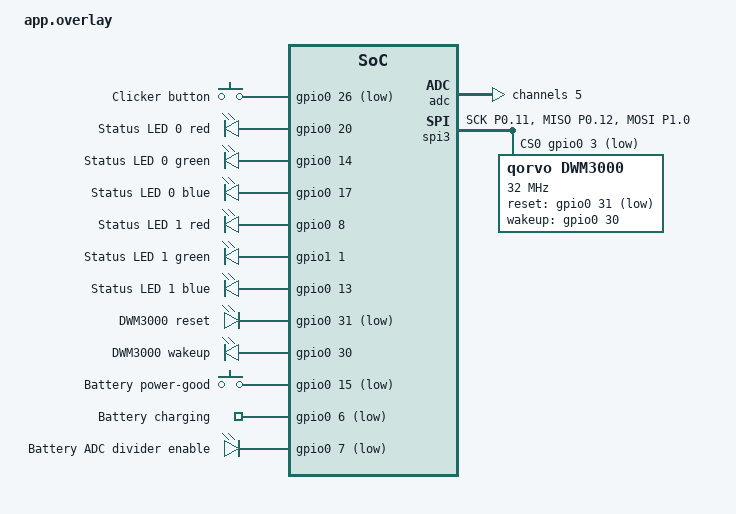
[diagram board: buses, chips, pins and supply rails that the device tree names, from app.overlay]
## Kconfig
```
mainmenu "IMEC UWB firmware"

source "Kconfig.zephyr"

config IMEC_DURABLE_STATE
    bool "Enable sparse durable application checkpoints"
    depends on FLASH && FLASH_MAP && FLASH_PAGE_LAYOUT && NVS && NVS_DATA_CRC
    help
      Mount storage_partition through one application owner and retain only
      typed, versioned, infrequently updated identity/configuration
      checkpoints. Packet queues, retry counters, ACK history, and other hot
      runtime state remain in bounded RAM or the gateway GUI. Any mount,
      schema, identity, CRC, write, or read-back failure fails closed; this
      option does not add a thread or workqueue.

menu "IMEC power management"

config IMEC_CLICKER_SYSTEMOFF_IDLE
    bool "Put the clicker in system-off while idle"
    default n if IMEC_CLICKER_SYSTEMON_RETAINED_IDLE
    default y
    select POWEROFF
    help
      Fallback mode for power profiling or recovery experiments. The clicker
      parks the DWM3000 and board GPIOs, arms the physical click button as a
      wake source, and enters nRF system-off whenever it is not actively
      handling a click or self-test interaction.

config IMEC_CLICKER_SYSTEMOFF_RAM_RETENTION
    bool "Retain RAM while clicker is in system-off idle"
    default y
    depends on IMEC_CLICKER_SYSTEMOFF_IDLE
    help
      Before entering nRF system-off idle, request RAM section retention so a
      button wake can preserve retained RAM state. This is the fallback
      clicker power-profile behavior when retained System ON idle is disabled.

config IMEC_CLICKER_SYSTEMON_RETAINED_IDLE
    bool "Keep the clicker in retained system-on idle"
    default y
    help
      Deployment default for clicker idle. Keep the clicker booted, park board
      power sinks, put the DWM3000 into retained sleep, and let the kernel sleep
      until the physical button GPIO interrupt fires. This is lower latency than
      system-off because it avoids the reset/boot path, while still allowing
      low-current System ON sleep. The system-off path remains available by
      disabling this option.

config IMEC_CLICKER_RTT_CONTROL
    bool "Accept supervised click gestures over RTT"
    default n
    depends on IMEC_MESH_ROUTE_TEST && IMEC_CLICKER_SYSTEMON_RETAINED_IDLE
    depends on USE_SEGGER_RTT
    help
      Add the exact CLICK and LONG commands on RTT down-channel 0. They enter
      the same debounced button gesture state machine and bounded action FIFO
      as the physical button. This is an opt-in hardware qualification aid;
      keep it disabled in normal battery deployments because polling RTT keeps
      a periodic System ON work item active.

config IMEC_TWO_ANCHOR_CLICK_BENCH
    bool "Temporarily qualify normal-click ranging with two anchors"
    default n
    depends on IMEC_MESH_ROUTE_TEST
    help
      Compile the normal-click wire contract with a two-anchor minimum for an
      explicitly matched clicker-and-anchor hardware bench. Every participant
      must use the same setting. Leave this disabled in production, where a
      normal click requires three unique anchors.

config IMEC_MESH_CLICK_RELAY_ONLY_BENCH
    bool "Ignore click wakes while retaining route-relay wakes"
    default n
    depends on IMEC_TWO_ANCHOR_CLICK_BENCH
    help
      Build one anchor as a route-relay-only hardware qualification node. It
      ignores click wake claims, so it cannot join click discovery or ranging,
      but keeps the normal low-duty listener and route-request wake handling.
      This is an explicitly matched bench image, never a production preset.

endmenu

menu "IMEC ML data collection"

config IMEC_ML_CLICKER
    bool "Build the BLE-controlled ML range data clicker"
    depends on BT && IMEC_GATEWAY_BLE
    help
      Exposes the existing connected gateway BLE packet/log service from the
      clicker role and accepts a BLE command to run fresh UWB discovery plus
      production-like DS-TWR sample collection for range offset training.
      Normal clicker button and idle behavior are left disabled in this image.

config IMEC_ML_ANCHOR
    bool "Build the deterministic ML data collection anchor"
    help
      Uses the proven UWB discovery/ranging path with ML-specific deterministic
      discovery slots, full-duty idle receive scanning, and periodic Li-ion
      battery-status LED blinking. Normal anchor duty-cycle limits are unchanged
      unless this image is explicitly selected.

config IMEC_ML_DEFAULT_SAMPLES_PER_ANCHOR
    int "Default ML collection samples per anchor"
    depends on IMEC_ML_CLICKER
    default 8
    range 1 100
    help
      Default sample count requested per selected anchor. The production range
      schedule still caps the total exchanges that fit in one burst.

config IMEC_ML_MAX_ANCHORS
    int "Maximum anchors selected per ML collection"
    depends on IMEC_ML_CLICKER
    default 8
    range 1 8
    help
      Compatibility cap for ML collection. The ML command path selects up to
      the configured discovery slot count, and the UWB schedule supports up to
      eight anchors.

config IMEC_ML_DISCOVERY_SLOT_COUNT
    int "ML discovery reply slot count"
    depends on IMEC_ML_CLICKER
    default 8
    range 1 8
    help
      Slot count used by the ML clicker discovery frame. The ML command path
      can select as many anchors as this slot count, up to eight anchors.

endmenu

menu "IMEC connected-routing mesh"

config IMEC_DEDICATED_COMM_WORKQUEUE
    bool "Run communication and mesh work on a dedicated queue"
    default y if IMEC_MESH_ROUTE_TEST
    help
      Keeps route discovery, delivery retries, receive processing, and radio
      work off the main and system workqueue stacks. Production mesh presets
      enable this so protocol workers only admit immutable communication work.

config IMEC_MESH_ROUTE_TEST
    bool "Build the connected-routing mesh runtime"
    help
      Enables the production-successor connected-routing runtime used by the
      mesh clicker, anchor, and gateway presets. Bench transmitter presets add
      their synthetic traffic options separately. Legacy and ML roles remain
      untouched unless a mesh_* build preset selects this option.

config IMEC_PRODUCTION_STATUS_LEDS
    bool "Use production status-LED policy"
    depends on IMEC_MESH_ROUTE_TEST
    help
      Disables channel-5 and channel-9 activity lights in exact deployable
      mesh presets. Bench and forced-hop presets leave this disabled so their
      visual RF diagnostics remain available.

config IMEC_PRODUCTION_BATTERY_INDICATOR
    bool "Enable production battery-status pulses"
    depends on IMEC_PRODUCTION_STATUS_LEDS && ADC
    help
      On anchors, sample the Li-ion voltage and pulse for 50 ms every five
      seconds: red below 33 percent, blue from 33 through 66 percent, and
      green above 66 percent. On retained-idle clickers, sample every ten
      seconds and pulse red below 20 percent, blue from 20 through 60 percent,
      and green above 60 percent. Percentages use the documented 3.2-4.2 V
      cell span and never write runtime samples to flash.

config IMEC_MESH_CLICK_FULL_CIR_REPORTING
    bool "Capture and report the full CIR window for connected-mesh clicks"
    depends on IMEC_MESH_ROUTE_TEST
    default n
    help
      Capture the 1152-byte accumulator CIR window during connected-mesh click
      ranging and stream it in additional routed report packets. The compact
      six-byte CIR tap remains in the base click report when this is disabled.
      ML data-collection roles are unaffected.

config IMEC_MESH_ROUTE_TEST_TRANSMITTER
    bool "Continuously transmit synthetic mesh-test packets"
    depends on IMEC_MESH_ROUTE_TEST
    help
      Runs an anchor-role mesh node that continuously sends synthetic
      MSG_MESH_DATA packets toward the gateway through the normal relay path.

config MESH_SMOKE_FAST_TX
    bool "Run one-hop mesh smoke traffic as fast as safely allowed"
    depends on IMEC_MESH_ROUTE_TEST_TRANSMITTER
    help
      Queues synthetic gateway-bound packets immediately after the normal mesh
      state allows more traffic. This does not bypass channel-5 contact,
      channel-9 event negotiation, gateway ACK, custody, retry, preemption, or
      persistent delivery state.

config IMEC_MESH_ROUTE_TEST_RELAY_REQUIRED_ROUTE_REQ
    bool "Force gateway route requests through a relay"
    depends on IMEC_MESH_ROUTE_TEST
    help
      Prevents a direct gateway probe from satisfying route acquisition and
      marks gateway route requests so direct copies from the origin cannot
      complete the route. This is a bench-only mode for validating relay route
      handling while every board remains close enough to probe. Normal mesh
      role presets leave this disabled.

config IMEC_MESH_ROUTE_TEST_RELAY_REQUIRED_GATEWAY_CONTROL
    bool "Require relayed gateway control on the forced-hop anchor"
    depends on IMEC_MESH_ROUTE_TEST
    help
      Rejects gateway-originated control received directly from the gateway so
      the same command must arrive through another anchor. This is a bench-only
      companion to relay-required route acquisition and leaves normal mesh
      role presets unchanged.

config IMEC_MESH_ROUTE_TEST_REQUIRED_GATEWAY_RELAY_HOPS
    int "Require an exact number of gateway relay hops"
    depends on IMEC_MESH_ROUTE_TEST_RELAY_REQUIRED_ROUTE_REQ
    default 1
    range 1 7
    help
      Bench-only exact route-depth policy. Route discovery accepts a gateway
      route only when the authenticated route reply reports this many relay
      anchors. It also places the anchor at RF layer N+1, so every UWB frame
      from the gateway or another anchor must cross each intervening forced
      layer in either direction. Clicker traffic remains directly visible.
      Normal mesh role presets leave this policy disabled.

config IMEC_MESH_ROUTE_TEST_TX_INTERVAL_MS
    int "Synthetic mesh-test packet interval in milliseconds"
    depends on IMEC_MESH_ROUTE_TEST_TRANSMITTER
    default 1000
    range 100 60000

config IMEC_MESH_ROUTE_TEST_TX_BURST_COUNT
    int "Synthetic mesh-test packets queued per interval"
    depends on IMEC_MESH_ROUTE_TEST_TRANSMITTER
    default 1
    range 1 8
    help
      Number of synthetic MSG_MESH_DATA packets submitted together through
      the node-communication service. Values above one exercise immutable
      custody, admission backpressure, priority reserve, retry, and terminal
      result handling under sustained load.

config IMEC_MESH_ROUTE_TEST_PAYLOAD_BYTES
    int "Synthetic mesh-test target payload size"
    depends on IMEC_MESH_ROUTE_TEST_TRANSMITTER
    default 0
    range 0 957
    help
      Target TLV payload length for synthetic MSG_MESH_DATA packets. Values
      above the metadata payload size are filled with TLV_MESH_TEST_PADDING
      bytes to force large channel-9 frames and sustained queue backlog.

config IMEC_MESH_ROUTE_TEST_CH5_SCAN_INTERVAL_MS
    int "Mesh-test channel-5 anchor scan idle interval in milliseconds"
    depends on IMEC_MESH_ROUTE_TEST
    default IMEC_ANCHOR_UWB_SCAN_INTERVAL_MS
    range 380 380
    help
      Idle delay between channel-5 wake/contact scans. The qualified 380 ms
      delay keeps idle power bounded and fits the shorter click wake train.

config IMEC_MESH_ROUTE_TEST_CH5_SCAN_RX_US
    int "Mesh-test channel-5 anchor scan receive window in microseconds"
    depends on IMEC_MESH_ROUTE_TEST
    default IMEC_ANCHOR_UWB_SCAN_RX_US
    range 1000 1000000
    help
      Active UWB receive time for each mesh-test channel-5 scan slice. The
      default tracks the normal anchor low-duty wake-scan receive slice.

config IMEC_MESH_ROUTE_TEST_STARTUP_GRACE_MS
    int "Mesh-test startup delay before UWB activity"
    depends on IMEC_MESH_ROUTE_TEST
    default 0
    range 0 60000
    help
      Delay mesh-test UWB scan and synthetic TX startup long enough for BLE
      debug advertising to become visible before UWB routing traffic starts.

endmenu

menu "IMEC bench diagnostics"

config IMEC_WATCHDOG_BYPASS
    bool "Bypass watchdog resets during bench diagnostics"
    depends on WATCHDOG
    help
      Do not start a fresh hardware watchdog and ignore application requests
      to stop feeding. If a watchdog was already started before this image
      booted, it cannot be disabled in hardware, so feed every inherited
      reload request unconditionally. Production mesh presets leave this off;
      it is intended only for supervised bench data collection.

config IMEC_STACK_DIAGNOSTICS
    bool "Emit typed RTT stack workload samples"
    depends on THREAD_MONITOR && THREAD_STACK_INFO && INIT_STACKS && USE_SEGGER_RTT
    help
      Emits correlated run, sample, queue, and custody records for real
      production operations. Deployable mesh presets enable this so their exact
      ELF can be tied to a hardware capture. Interrupt-stack output is explicit
      configuration evidence only; Zephyr has no supported ISR high-water mark.

config IMEC_STACK_STRESS_DIAGNOSTICS
    bool "Enable embedded stack stress diagnostics"
    depends on IMEC_STACK_DIAGNOSTICS && STACK_CANARIES
    depends on HW_STACK_PROTECTION
    help
      Adds compiler stack canaries and retained fatal thread/stack context.
      Existing typed workload samples already record each thread's stack
      watermark without a periodic analyzer thread or nested logger output.
      This option does not change any configured stack size. CMake exposes it
      only through IMEC_STACK_STRESS_BUILD on the exact mesh_clicker,
      mesh_anchor, and mesh_gateway presets.

config IMEC_DS_TWR_RTT_DEBUG
    bool "Emit compact DS-TWR stage diagnostics over RTT"
    help
      Emits one compact record at each POLL, RESPONSE, FINAL, and REPORT stage.
      This is intended for timing-sensitive bench captures where subsystem
      debug logging would overflow RTT and obscure the exchange itself.

config IMEC_CLICK_HANDOFF_RTT_TRACE
    bool "Emit deferred click schedule handoff traces over RTT"
    depends on USE_SEGGER_RTT
    help
      Records click-priority preemption and RANGE_SCHEDULE TX/RX timestamps in
      RAM during the timing-sensitive handoff, then emits one compact record
      only after the range burst or failed handoff has ended. This bench-only
      trace must not add logging work between RANGE_SCHEDULE and the first POLL.

endmenu


config IMEC_CLICK_DELIVERY_PARENT_LISTEN
    bool "Post-burst channel-5 listen window for click-report delivery"
    default y
    help
      Every anchor that received a range schedule stays in channel-5
      mesh-control receive from the shared delivery window start until the
      whole slot grid plus a tail has passed, admitting children's uplinks and
      answering MSG_MESH_HOP_ACK immediately. A child whose next hop took part
      in the same click then skips the wake train entirely.

      Disable this to force every parent-hop uplink through a wake train, which
      is what the wake-train bench overlay measures.

config IMEC_ANCHOR_UWB_SCAN_INTERVAL_MS
    int "Anchor low-duty UWB wake scan interval in milliseconds"
    default 380
    range 380 380
    help
      Idle delay between low-duty anchor wake-scan attempts. The actual
      RX-to-RX period also includes wake, receive and release overhead.

config IMEC_ANCHOR_UWB_SCAN_RX_US
    int "Anchor low-duty UWB wake scan receive slice in microseconds"
    default 5000
    range 1 1000000
    help
      Initial acquisition time in each low-duty anchor wake scan. Preamble
      activity extends RX long enough to receive a complete claim. Five
      milliseconds covers measured Here-I-Am packet gaps with margin, using
      continuous RX to preserve sensitivity and the qualified fast SPI handoff.

config IMEC_GATEWAY_BLE
    bool "Use connected Bluetooth for gateway PC communication"
    depends on BT
    help
      The gateway exposes a connectable BLE GATT service to the PC. One
      characteristic accepts COBS-delimited binary gateway packets, one
      notifies COBS-delimited gateway packets back to the PC. This replaces the
      old app-side serial gateway transport. Firmware logs remain available
      through RTT and are not carried over BLE.
```

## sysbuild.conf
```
# No bootloader child image by default. Current hardware has no usable wired
# data path, so firmware updates use the external debug probe.
SB_CONFIG_BOOTLOADER_MCUBOOT=n
SB_CONFIG_PARTITION_MANAGER=n
```

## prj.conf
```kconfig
# Core peripherals
CONFIG_GPIO=y
CONFIG_SPI=y
CONFIG_ADC=y
CONFIG_ENTROPY_GENERATOR=y

# Local wired data lines are not available on the current hardware. Runtime
# diagnostics use BLE and, for probe-attached bench work, RTT.
CONFIG_SERIAL=n
CONFIG_CONSOLE=n
CONFIG_UART_CONSOLE=n
CONFIG_PRINTK=y
CONFIG_LOG=y
CONFIG_LOG_DEFAULT_LEVEL=4
CONFIG_LOG_BACKEND_UART=n
CONFIG_LOG_MODE_DEFERRED=y
CONFIG_LOG_PROCESS_THREAD=y
CONFIG_LOG_PROCESS_THREAD_STACK_SIZE=1024
CONFIG_LOG_BUFFER_SIZE=4096

# Continuous acquisition covers measured activation gaps with the shared
# fast-SPI setup. Keep clean builds aligned with the qualified scan setting.
CONFIG_IMEC_ANCHOR_UWB_SCAN_RX_US=5000
CONFIG_IMEC_MESH_ROUTE_TEST_CH5_SCAN_RX_US=5000

# Mesh RX can forward or ACK packets from the system workqueue; keep room for
# relay result/outbound/frame buffers plus driver and logging call frames.
CONFIG_SYSTEM_WORKQUEUE_STACK_SIZE=6144

# Firmware shell/runtime sizing.
CONFIG_MAIN_STACK_SIZE=4096
CONFIG_ASSERT=y
CONFIG_REBOOT=y
CONFIG_WATCHDOG=y
CONFIG_HWINFO=y
CONFIG_POWEROFF=y
CONFIG_PM_DEVICE=y
```

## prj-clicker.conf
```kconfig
# PoC: watchdog and low-power disabled. Keep BLE courtesy for simultaneous clicks.
CONFIG_WATCHDOG=n
CONFIG_HWINFO=y
CONFIG_POWEROFF=n
CONFIG_PM_DEVICE=n

# Clicker-only BLE courtesy side channel.
CONFIG_BT=y
CONFIG_BT_BROADCASTER=y
CONFIG_BT_OBSERVER=y
CONFIG_BT_PRIVACY=n
CONFIG_BT_SCAN_WITH_IDENTITY=y
CONFIG_BT_DEVICE_NAME="IMEC Clicker"
CONFIG_IMEC_CLICKER_SYSTEMON_RETAINED_IDLE=n
CONFIG_IMEC_CLICKER_SYSTEMOFF_IDLE=n
```

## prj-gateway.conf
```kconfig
# Gateway base runtime. Gateway PC communication is the connected BLE service.
CONFIG_GPIO=y
CONFIG_SPI=y
CONFIG_ADC=y
CONFIG_ENTROPY_GENERATOR=y

CONFIG_PRINTK=y
CONFIG_LOG=y
CONFIG_LOG_DEFAULT_LEVEL=4
CONFIG_LOG_MODE_DEFERRED=y
CONFIG_LOG_PROCESS_THREAD=y
CONFIG_LOG_PROCESS_THREAD_STACK_SIZE=1024
CONFIG_LOG_BUFFER_SIZE=4096
CONFIG_SYSTEM_WORKQUEUE_STACK_SIZE=6144
CONFIG_MAIN_STACK_SIZE=4416
CONFIG_ASSERT=y
CONFIG_REBOOT=y
CONFIG_WATCHDOG=y
CONFIG_HWINFO=y
CONFIG_PM_DEVICE=y

# Gateway PC link over a connected BLE GATT service.
CONFIG_BT=y
CONFIG_BT_PERIPHERAL=y
CONFIG_BT_DEVICE_NAME="IMEC Gateway"
CONFIG_BT_MAX_CONN=1
CONFIG_BT_BONDABLE=n
CONFIG_BT_AUTO_PHY_UPDATE=y
CONFIG_BT_DATA_LEN_UPDATE=y
CONFIG_BT_L2CAP_TX_MTU=247
CONFIG_BT_BUF_ACL_RX_SIZE=251
CONFIG_BT_BUF_ACL_TX_COUNT=10
CONFIG_BT_BUF_ACL_TX_SIZE=251
CONFIG_BT_CTLR_DATA_LENGTH_MAX=251
# Live command/receipt traffic used 1444 B; retain the required 20% margin.
CONFIG_BT_RX_STACK_SIZE=1920

CONFIG_IMEC_GATEWAY_BLE=y

# Runtime PC communication is Bluetooth only for gateway builds.
CONFIG_SERIAL=n
CONFIG_CONSOLE=n
CONFIG_UART_CONSOLE=n
CONFIG_LOG_BACKEND_UART=n
```

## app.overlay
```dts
#include <zephyr/dt-bindings/gpio/gpio.h>
#include <zephyr/dt-bindings/adc/adc.h>
#include <zephyr/dt-bindings/adc/nrf-saadc.h>
#include <zephyr/dt-bindings/pinctrl/nrf-pinctrl.h>

/* Sparse durable checkpoints use the board's explicit final flash region. */
&storage_partition {
    status = "okay";
};

/ {
    aliases {
        /delete-property/ led0;
        /delete-property/ led1;
        /delete-property/ led2;
        /delete-property/ led3;
        /delete-property/ pwm-led0;
        /delete-property/ sw0;
        /delete-property/ sw1;
        /delete-property/ sw2;
        /delete-property/ sw3;
        /delete-property/ bootloader-led0;
        /delete-property/ mcuboot-button0;
        /delete-property/ mcuboot-led0;

        click-button = &click_button;
        status0-red = &status0_red;
        status0-green = &status0_green;
        status0-blue = &status0_blue;
        status1-red = &status1_red;
        status1-green = &status1_green;
        status1-blue = &status1_blue;
        dwm3000 = &dwm3000;
        dwm3000-reset = &dwm3000_reset;
        dwm3000-wakeup = &dwm3000_wakeup;
        battery-pg = &battery_pg;
        battery-chg = &battery_chg;
        battery-adc-enable = &battery_adc_enable;
    };

    gpio_keys {
        compatible = "gpio-keys";

        click_button: click_button {
            gpios = <&gpio0 26 (GPIO_PULL_UP | GPIO_ACTIVE_LOW)>;
            label = "Clicker button";
        };
    };

    status_leds {
        compatible = "gpio-leds";

        status0_red: status0_red {
            gpios = <&gpio0 20 GPIO_ACTIVE_HIGH>;
            label = "Status LED 0 red";
        };

        status0_green: status0_green {
            gpios = <&gpio0 14 GPIO_ACTIVE_HIGH>;
            label = "Status LED 0 green";
        };

        status0_blue: status0_blue {
            gpios = <&gpio0 17 GPIO_ACTIVE_HIGH>;
            label = "Status LED 0 blue";
        };

        status1_red: status1_red {
            gpios = <&gpio0 8 GPIO_ACTIVE_HIGH>;
            label = "Status LED 1 red";
        };

        status1_green: status1_green {
            gpios = <&gpio1 1 GPIO_ACTIVE_HIGH>;
            label = "Status LED 1 green";
        };

        status1_blue: status1_blue {
            gpios = <&gpio0 13 GPIO_ACTIVE_HIGH>;
            label = "Status LED 1 blue";
        };
    };

    dwm3000_control {
        compatible = "gpio-leds";

        dwm3000_reset: dwm3000_reset {
            gpios = <&gpio0 31 GPIO_ACTIVE_LOW>;
            label = "DWM3000 reset";
        };

        dwm3000_wakeup: dwm3000_wakeup {
            gpios = <&gpio0 30 GPIO_ACTIVE_HIGH>;
            label = "DWM3000 wakeup";
        };
    };

    battery_status {
        compatible = "gpio-keys";

        battery_pg: battery_pg {
            gpios = <&gpio0 15 (GPIO_PULL_UP | GPIO_ACTIVE_LOW)>;
            label = "Battery power-good";
        };

        battery_chg: battery_chg {
            gpios = <&gpio0 6 (GPIO_PULL_UP | GPIO_ACTIVE_LOW)>;
            label = "Battery charging";
        };
    };

    battery_control {
        compatible = "gpio-leds";

        battery_adc_enable: battery_adc_enable {
            gpios = <&gpio0 7 GPIO_ACTIVE_LOW>;
            label = "Battery ADC divider enable";
        };
    };
};

&uart0 {
    status = "disabled";
    /delete-property/ pinctrl-0;
    /delete-property/ pinctrl-1;
    /delete-property/ pinctrl-names;
};

&zephyr_udc0 {
    status = "disabled";
};

&i2c0 {
    status = "disabled";
    /delete-property/ pinctrl-0;
    /delete-property/ pinctrl-1;
    /delete-property/ pinctrl-names;
};

&i2c1 {
    status = "disabled";
    /delete-property/ pinctrl-0;
    /delete-property/ pinctrl-1;
    /delete-property/ pinctrl-names;
};

&uart1 {
    status = "disabled";
    /delete-property/ pinctrl-0;
    /delete-property/ pinctrl-1;
    /delete-property/ pinctrl-names;
};

&spi0 {
    status = "disabled";
    /delete-property/ pinctrl-0;
    /delete-property/ pinctrl-1;
    /delete-property/ pinctrl-names;
};

&spi1 {
    status = "disabled";
    /delete-property/ pinctrl-0;
    /delete-property/ pinctrl-1;
    /delete-property/ pinctrl-names;
};

&pwm0 {
    status = "disabled";
    /delete-property/ pinctrl-0;
    /delete-property/ pinctrl-1;
    /delete-property/ pinctrl-names;
};

&ieee802154 {
    status = "disabled";
};

&gpio0 {
    /* P0.26 click button: use GPIO SENSE/PORT instead of a GPIOTE IN event channel. */
    sense-edge-mask = <0x04000000>;
};

&led0 {
    status = "disabled";
};

&led1 {
    status = "disabled";
};

&led2 {
    status = "disabled";
};

&led3 {
    status = "disabled";
};

&pwm_led0 {
    status = "disabled";
};

&button0 {
    status = "disabled";
};

&button1 {
    status = "disabled";
};

&button2 {
    status = "disabled";
};

&button3 {
    status = "disabled";
};

&adc {
    status = "okay";
    #address-cells = <1>;
    #size-cells = <0>;

    battery_adc: channel@5 {
        reg = <5>;
        zephyr,gain = "ADC_GAIN_1_6";
        zephyr,reference = "ADC_REF_INTERNAL";
        zephyr,acquisition-time = <ADC_ACQ_TIME_DEFAULT>;
        zephyr,input-positive = <NRF_SAADC_AIN5>;
        zephyr,resolution = <12>;
    };
};

&pinctrl {
    spi3_default: spi3_default {
        group1 {
            /* Pinctrl owns GPIO setup, including the 32 MHz output drive. */
            nordic,drive-mode = <NRF_DRIVE_H0H1>;
            psels = <NRF_PSEL(SPIM_SCK, 0, 11)>,
                    <NRF_PSEL(SPIM_MISO, 0, 12)>,
                    <NRF_PSEL(SPIM_MOSI, 1, 0)>;
        };
    };

    spi3_sleep: spi3_sleep {
        group1 {
            psels = <NRF_PSEL(SPIM_SCK, 0, 11)>,
                    <NRF_PSEL(SPIM_MISO, 0, 12)>,
                    <NRF_PSEL(SPIM_MOSI, 1, 0)>;
            low-power-enable;
        };
    };
};

&spi3 {
    compatible = "nordic,nrf-spim";
    status = "okay";
    pinctrl-0 = <&spi3_default>;
    pinctrl-1 = <&spi3_sleep>;
    pinctrl-names = "default", "sleep";
    cs-gpios = <&gpio0 3 GPIO_ACTIVE_LOW>;

    dwm3000: dwm3000@0 {
        compatible = "qorvo,dwm3000";
        reg = <0>;
        spi-max-frequency = <32000000>;
        slow-spi-frequency = <2000000>;
        fast-spi-frequency = <32000000>;
        reset-gpios = <&gpio0 31 GPIO_ACTIVE_LOW>;
        wakeup-gpios = <&gpio0 30 GPIO_ACTIVE_HIGH>;
    };
};
```

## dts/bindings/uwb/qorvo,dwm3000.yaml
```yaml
description: Qorvo DWM3000 SPI device

compatible: "qorvo,dwm3000"

include: spi-device.yaml

properties:
  slow-spi-frequency:
    type: int
    required: true
    description: SPI clock used before and during DW3000 reset or soft-reset. Must stay at or below 7 MHz.

  fast-spi-frequency:
    type: int
    required: true
    description: Runtime SPI clock used after the DW3000 is initialized and in IDLE. The hardware target is 32 MHz.

  reset-gpios:
    type: phandle-array
    required: true
    description: DWM3000 reset pin.

  wakeup-gpios:
    type: phandle-array
    required: true
    description: DWM3000 wakeup pin.
```

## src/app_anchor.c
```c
#include "app_anchor.h"
#include "app_anchor_action_runtime.h"
#include "app_anchor_command_completion.h"
#include "app_anchor_ranging.h"

#include "app_radio_low_power_policy.h"
#include "app_board.h"
#include "app_config.h"
#include "app_discovery_assignment_policy.h"
#include "app_discovery_assignment_stack.h"
#include "app_durable_state.h"
#include "app_gateway_ble.h"
#include "app_gateway_assignment_publisher.h"
#include "app_gateway_command_ingress.h"
#include "app_gateway_command_lifecycle.h"
#include "app_gateway_command_result.h"
#include "app_gateway_control_sequence.h"
#include "app_gateway_operation_owner.h"
#include "app_mesh_arbitration_zephyr.h"
#include "app_mesh_c5_priority.h"
#include "app_mesh_ch9_ack.h"
#include "app_mesh_gateway_command_flow.h"
#include "app_mesh_command_orchestrator.h"
#include "app_mesh_report.h"
#include "app_mesh_rx_policy.h"
#include "app_ml.h"
#include "app_ram_state_types.h"
#include "app_node_comm.h"
#include "app_node_comm_gateway_route_refresh.h"
#include "app_operation_policy.h"
#include "app_state.h"
#include "app_stack_workload_diag.h"
#include "app_survey.h"
#include "app_watchdog.h"
#include "dwm3000_driver.h"
#include "discovery_assignment.h"
#include "enumeration_response_lane.h"
#include "gateway_command.h"
#include "mesh.h"
#include "mesh_relay.h"
#include "protocol.h"
#include "protocol_rx_lifecycle.h"
#include "report.h"
#include "route.h"
#include "serial_frame.h"
#include "status.h"
#include "uwb.h"
#include "uwb_session.h"

#include <zephyr/kernel.h>
#include <zephyr/logging/log.h>
#include <zephyr/logging/log_ctrl.h>
#include <zephyr/random/random.h>
#include <zephyr/sys/atomic.h>
#include <zephyr/sys/reboot.h>
#include <zephyr/sys/util.h>

#include <errno.h>
#include <string.h>

LOG_MODULE_REGISTER(app_anchor, LOG_LEVEL_DBG);

#define ANCHOR_CH5_SCAN_DEBUG_INTERVAL_MS 1000u
#define ANCHOR_COMMAND_DELIVERY_POLL_MS 5u
#define ANCHOR_DISCOVERY_ACK_ROUTE_WAIT_RETRY_MS 500u
#define ANCHOR_DISCOVERY_ACK_LOW_DUTY_RETRY_BASE_MS 60000u
#define ANCHOR_DISCOVERY_ACK_LOW_DUTY_RETRY_MAX_MS 3600000u
#define GATEWAY_HOST_COMMAND_QUEUE_DEPTH 2u
#define GATEWAY_HOST_COMMAND_MAX_SEND_ATTEMPTS 8u
#define GATEWAY_HOST_COMMAND_ACK_CONFIRM_POLL_MS 1000u
#define GATEWAY_DISCOVERY_ASSIGNMENT_DELIVERY_POLL_MS DISCOVERY_ASSIGNMENT_DELIVERY_TERMINAL_POLL_MS
#define GATEWAY_DISCOVERY_ASSIGNMENT_ABORT_DELIVERY_BUDGET_MS 10000u
BUILD_ASSERT(UWB_DISCOVERY_SLOT_COUNT == MESH_CONNECTED_MAX_ANCHORS,
             "gateway enumeration must cover the connected anchor maximum");
BUILD_ASSERT(ENUMERATION_RESPONSE_START_DELAY_MS +
                 ENUMERATION_RESPONSE_LANE_MS <
                 DISCOVERY_ASSIGNMENT_OPERATION_DEFAULT_BUDGET_MS,
             "pipelined CLAIM and response lane must fit the operation budget");
BUILD_ASSERT(ENUMERATION_RESPONSE_START_DELAY_MS >=
                 DISCOVERY_ASSIGNMENT_CONTROL_PROPAGATION_MARGIN_MS +
                 (UWB_ENUM_MAX_HOPS *
                  DISCOVERY_ASSIGNMENT_RELAY_BEFORE_RESPONSE_MAX_MS) +
                 ENUMERATION_RESPONSE_GATEWAY_PREPARE_MS,
             "response edge must follow every pipelined CLAIM hop");
BUILD_ASSERT(DISCOVERY_ASSIGNMENT_OPERATION_DEFAULT_BUDGET_MS >=
             DISCOVERY_ASSIGNMENT_OPERATION_MIN_BUDGET_MS,
             "default assignment budget must cover claim and table response horizons");
BUILD_ASSERT(DISCOVERY_ASSIGNMENT_OPERATION_TERMINAL_SCHEDULING_GUARD_MS >=
             DISCOVERY_ASSIGNMENT_CONTROL_PHASE_COUNT *
                 GATEWAY_DISCOVERY_ASSIGNMENT_DELIVERY_POLL_MS,
             "assignment budget must cover every control terminal poll");
BUILD_ASSERT(DISCOVERY_ASSIGNMENT_OPERATION_DEFAULT_BUDGET_MS <=
             GATEWAY_COMMAND_BUDGET_MAX_MS,
             "default assignment budget must fit the shared command budget limit");
BUILD_ASSERT((DISCOVERY_ASSIGNMENT_COMMAND_EXPIRY_S * 1000u) >=
             DISCOVERY_ASSIGNMENT_RESPONSE_CUSTODY_MAX_MS,
             "assignment command expiry must cover the maximum response custody horizon");
BUILD_ASSERT(GATEWAY_COLLECTION_RESULT_CACHE_SIZE == MESH_CONNECTED_MAX_ANCHORS,
             "gateway collection storage must cover every connected anchor");
BUILD_ASSERT(APP_GATEWAY_ASSIGNMENT_PUBLISHER_MAX_ENTRIES ==
             MESH_CONNECTED_MAX_ANCHORS,
             "gateway assignment publication must cover every connected anchor");
BUILD_ASSERT((uint64_t)UINT16_MAX *
                 (uint64_t)ANCHOR_HEARTBEAT_MIN_INTERVAL_MS >
             (uint64_t)MESH_RELAY_GATEWAY_ACK_RETENTION_MS +
                 (uint64_t)ANCHOR_HEARTBEAT_DELIVERY_TIMEOUT_MS,
             "heartbeat sequence must not wrap inside retained gateway identity custody");
BUILD_ASSERT(APP_DISCOVERY_ASSIGNMENT_PUBLISH_LARGE_LOCAL_BYTES <=
             APP_DISCOVERY_ASSIGNMENT_PUBLISH_LARGE_LOCAL_LIMIT_BYTES,
             "gateway discovery table publisher must stay below a 4 KiB stack frame");
BUILD_ASSERT(DISCOVERY_ASSIGNMENT_RESPONSE_CUSTODY_MAX_MS >
             GATEWAY_COMMAND_RESULT_TIMEOUT_MS,
             "assignment response custody must outlive the generic command-result deadline");
BUILD_ASSERT(DISCOVERY_ASSIGNMENT_RESPONSE_CUSTODY_MAX_MS >=
             NODE_COMM_PROTOCOL_RESPONSE_MAX_ATTEMPTS *
                 (NODE_COMM_PROTOCOL_RESPONSE_RETRY_BACKOFF_MAX_MS +
                  ROUTE_GATEWAY_ACK_TIMEOUT_MS),
             "assignment response custody must cover every bounded protocol-response retry");
BUILD_ASSERT(DISCOVERY_ASSIGNMENT_ACK_FAST_HANDLE_RETRIES > 0u &&
             ANCHOR_DISCOVERY_ACK_ROUTE_WAIT_RETRY_MS > 0u &&
             ANCHOR_DISCOVERY_ACK_ROUTE_WAIT_RETRY_MS <
                 ANCHOR_DISCOVERY_ACK_LOW_DUTY_RETRY_BASE_MS &&
             ANCHOR_DISCOVERY_ACK_LOW_DUTY_RETRY_BASE_MS >
                 DISCOVERY_ASSIGNMENT_RETRY_MAX_MS &&
             ANCHOR_DISCOVERY_ACK_LOW_DUTY_RETRY_MAX_MS >=
                 ANCHOR_DISCOVERY_ACK_LOW_DUTY_RETRY_BASE_MS,
             "assignment ACK low-duty retry must be bounded and slower than fast recovery");

#if DEVICE_ROLE == ROLE_ANCHOR && defined(CONFIG_IMEC_MESH_ROUTE_TEST)
BUILD_ASSERT(UWB_RANGE_SCHEDULE_MAX_LEN <= UWB_MESH_MAX_FRAME_LEN,
             "post-wake route RX buffer must still fit normal ranging schedules");
BUILD_ASSERT(ANCHOR_UWB_SCAN_WORKQUEUE_STACK_SIZE >= 9984u,
             "mesh-route anchor scan must retain its measured safety margin");
BUILD_ASSERT(MESH_ROUTE_WORKQUEUE_PRIORITY < ANCHOR_UWB_SCAN_WORKQUEUE_PRIORITY,
             "mesh route work must preempt low-duty anchor scan handoff");
BUILD_ASSERT(MESH_ROUTE_WORKQUEUE_STACK_SIZE >= 9472u,
             "mesh communication worker must retain its measured route stack budget");
BUILD_ASSERT(ANCHOR_UWB_SCAN_BUSY_RETRY_MS > 0u,
             "blocked mesh route-test anchor scans must not spin at zero delay");
#endif

static struct k_work_delayable anchor_uwb_scan_work;
static struct k_work anchor_click_handoff_work;
static struct k_work_delayable anchor_heartbeat_work;
static struct k_work_delayable anchor_reboot_work;
static struct k_work_delayable anchor_collection_result_work;
static struct k_work_delayable anchor_command_execute_work;
static struct k_work_delayable anchor_discovery_claim_work;
#if DEVICE_ROLE == ROLE_GATEWAY
static struct k_work_delayable gateway_discovery_assignment_finalize_work;
static struct k_work_delayable gateway_discovery_assignment_publish_work;
#endif

#define GATEWAY_DISCOVERY_ASSIGNMENT_VALIDATION_RECHECK_MS 10u

struct anchor_discovery_claim_pending {
    struct proto_packet command;
    uint32_t epoch;
    struct discovery_assignment_table_commitment table_commitment;
    uint32_t delivery_handle;
    uint32_t generation;
    uint64_t first_contact_origin_ms;
    uint64_t absolute_deadline_ms;
    uint64_t next_attempt_not_before_ms;
    uint32_t first_contact_random;
    uint16_t response_spread_ms;
    enum discovery_assignment_phase phase;
    /* Durable slot identifies the anchor; response_lane only schedules RF. */
    uint8_t slot;
    uint8_t slot_count;
    uint8_t response_lane;
    uint8_t response_lane_count;
    uint8_t hop_count;
    uint8_t attempt;
    uint8_t terminal_retry_count;
    bool ack_delivered;
    bool active;
};

struct anchor_enumeration_response_config {
    uint64_t start_ms;
    uint64_t hia_deepest_source_start_ms;
    uint64_t parent_id;
    uint32_t epoch;
    uint8_t hop_count;
    uint8_t max_hop_count;
    bool hia_pipeline;
    bool active;
};

/*
 * RAM-only proof that this exact response completed the full gateway
 * ACK-confirm handshake.  It deliberately does not survive reset: after a
 * reboot an exact command replay must be allowed to reconstruct custody.
 */
struct anchor_discovery_response_terminal {
    struct discovery_assignment_table_commitment table_commitment;
    uint32_t epoch;
    uint32_t command_session_id;
    uint16_t command_packet_seq;
    enum discovery_assignment_phase phase;
    bool valid;
};

#if DEVICE_ROLE == ROLE_GATEWAY
enum gateway_discovery_assignment_stage {
    GATEWAY_DISCOVERY_ASSIGNMENT_COLLECT_CLAIMS = 0,
    GATEWAY_DISCOVERY_ASSIGNMENT_WAIT_TABLE_PROPAGATION = 1,
    GATEWAY_DISCOVERY_ASSIGNMENT_WAIT_ABORT_DELIVERY = 2,
};

enum gateway_discovery_assignment_delivery_kind {
    GATEWAY_DISCOVERY_ASSIGNMENT_DELIVERY_NONE = 0,
    GATEWAY_DISCOVERY_ASSIGNMENT_DELIVERY_CLAIM = 1,
    GATEWAY_DISCOVERY_ASSIGNMENT_DELIVERY_TABLE = 2,
    GATEWAY_DISCOVERY_ASSIGNMENT_DELIVERY_ABORT = 3,
};

struct gateway_discovery_assignment_state {
    struct proto_packet host_command;
    uint32_t result_reservation_token;
    uint64_t anchor_ids[UWB_DISCOVERY_SLOT_COUNT];
    uint64_t anchor_previous_hop_ids[UWB_DISCOVERY_SLOT_COUNT];
    uint8_t anchor_slots[UWB_DISCOVERY_SLOT_COUNT];
    uint8_t anchor_hop_counts[UWB_DISCOVERY_SLOT_COUNT];
    uint64_t ack_mask;
    uint64_t claim_response_mask;
    uint64_t compact_observability_pending_mask;
    uint32_t epoch;
    uint32_t claim_command_seq;
    struct discovery_assignment_table_commitment table_commitment;
    uint32_t table_command_seq;
    uint16_t table_packet_seq;
    uint32_t abort_command_seq;
    uint16_t abort_packet_seq;
    uint64_t operation_deadline_ms;
    uint64_t claim_collection_deadline_ms;
    uint64_t claim_ack_settle_deadline_ms;
    uint64_t response_ack_settle_deadline_ms;
    uint64_t response_window_origin_ms;
    uint64_t response_lane_start_ms;
    uint64_t phase_propagation_deadline_ms;
    uint32_t command_budget_ms;
    uint16_t response_spread_ms;
    uint32_t generation;
    uint32_t delivery_handle;
    uint32_t response_window_deadline_ms;
    size_t claim_count;
    enum gateway_discovery_assignment_stage stage;
    enum gateway_discovery_assignment_delivery_kind delivery_kind;
    uint8_t claim_round;
    uint8_t table_round;
    uint8_t claim_admission_retry_round;
    uint8_t table_admission_retry_round;
    uint8_t abort_admission_retry_count;
    uint8_t max_hop_count;
    uint8_t response_lane_max_hop_count;
    uint8_t prior_anchor_count;
    uint16_t expected_claim_count;
    uint16_t duplicate_count;
    enum command_status pending_failure_status;
    uint8_t pending_failure_reason;
    bool round_open;
    bool budget_explicit;
    bool claim_delivery_succeeded;
    bool claim_rf_started;
    bool table_delivery_succeeded;
    bool claim_ack_settle_armed;
    bool response_ack_settle_armed;
    bool response_window_deadline_valid;
    bool late_table_redrive_pending;
    bool table_delivery_is_redrive;
    bool ram_only_iteration;
    bool replay;
    bool response_lane_active;
    bool response_lane_hia_pipeline;
    bool table_propagation_pending;
    bool survey_follows;
    bool active;
};
#endif

static struct anchor_discovery_claim_pending anchor_discovery_claim_pending;
static struct anchor_enumeration_response_config
    anchor_enumeration_response_config;
#if DEVICE_ROLE == ROLE_ANCHOR
/* The scanner is the sole mutator. This keeps ACK and child-record custody
 * across its short radio handoffs without retaining encoded RF frames. */
static struct enumeration_response_lane anchor_enumeration_response_lane;
#endif
static struct anchor_discovery_response_terminal
    anchor_discovery_response_terminal;
static uint32_t anchor_discovery_claim_failed_abandon_handle;
K_MUTEX_DEFINE(anchor_discovery_claim_mutex);
K_MUTEX_DEFINE(anchor_discovery_assignment_transaction_mutex);
#if DEVICE_ROLE == ROLE_GATEWAY
static struct gateway_discovery_assignment_state gateway_discovery_assignment_state;
K_MUTEX_DEFINE(gateway_discovery_assignment_mutex);
static struct app_discovery_assignment_work_guard
    gateway_discovery_assignment_publish_guard;
static uint32_t gateway_discovery_assignment_generation;
#endif

#if DEVICE_ROLE == ROLE_ANCHOR && \
    !defined(CONFIG_IMEC_MESH_ROUTE_TEST_TRANSMITTER)
K_THREAD_STACK_DEFINE(anchor_uwb_scan_work_q_stack, ANCHOR_UWB_SCAN_WORKQUEUE_STACK_SIZE);
static struct k_work_q anchor_uwb_scan_work_q;
static const struct k_work_queue_config anchor_uwb_scan_work_q_config = {
    .name = "anchor_uwb_scan",
};
#endif
static uint16_t anchor_heartbeat_seq;
static uint32_t anchor_ch5_scan_debug_next_ms;
static uint32_t anchor_low_power_transition_failures;
static uint8_t anchor_uwb_scan_frame[UWB_MESH_MAX_FRAME_LEN];
static uint32_t anchor_heartbeat_interval_ms = ANCHOR_HEARTBEAT_DEFAULT_INTERVAL_MS;
static bool anchor_reboot_pending;
static uint32_t anchor_reboot_deadline_ms;
static bool anchor_scan_recovery_gap_requested;
#if DEVICE_ROLE == ROLE_GATEWAY
static struct app_gateway_operation_owner gateway_operation_owner;
static struct app_gateway_operation_lease gateway_assignment_operation_lease;
static struct app_gateway_operation_lease gateway_survey_operation_lease;
static struct k_spinlock gateway_operation_owner_lock;

static int gateway_operation_owner_claim(
    enum app_gateway_operation_owner_kind owner,
    struct app_gateway_operation_lease *lease)
{
    k_spinlock_key_t key = k_spin_lock(&gateway_operation_owner_lock);
    int ret = app_gateway_operation_owner_claim(
        &gateway_operation_owner, owner, lease);

    k_spin_unlock(&gateway_operation_owner_lock, key);
    return ret;
}

static int gateway_operation_owner_release(
    struct app_gateway_operation_lease *lease)
{
    k_spinlock_key_t key = k_spin_lock(&gateway_operation_owner_lock);
    int ret = app_gateway_operation_owner_release(
        &gateway_operation_owner, lease);

    if (ret == 0) {
        /*
         * The per-kind lease object is also the destination of the next
         * claim. Clear the retired capability before dropping the same lock
         * which serializes that claim, otherwise a successor can publish its
         * generation and have this delayed release erase it.
         */
        memset(lease, 0, sizeof(*lease));
    }
    k_spin_unlock(&gateway_operation_owner_lock, key);
    if (ret != 0) {
        status_debug_printf("DBG_GOWNER_RELEASE %u %u %d\n",
                            lease == NULL ? 0u :
                                (unsigned int)lease->owner,
                            lease == NULL ? 0u : lease->generation,
                            ret);
        app_watchdog_stop_feeding();
    }
    return ret;
}

static bool gateway_operation_owner_matches(
    enum app_gateway_operation_owner_kind owner,
    const struct app_gateway_operation_lease *lease)
{
    k_spinlock_key_t key = k_spin_lock(&gateway_operation_owner_lock);
    bool matches = lease != NULL &&
        app_gateway_operation_lease_valid(lease) &&
        lease->owner == owner &&
        gateway_operation_owner.active.owner == lease->owner &&
        gateway_operation_owner.active.generation == lease->generation;

    k_spin_unlock(&gateway_operation_owner_lock, key);
    return matches;
}

#endif

#if DEVICE_ROLE == ROLE_GATEWAY && defined(CONFIG_IMEC_GATEWAY_BLE)
K_MSGQ_DEFINE(gateway_host_command_msgq,
              sizeof(struct app_gateway_command_ingress_item),
              GATEWAY_HOST_COMMAND_QUEUE_DEPTH,
              4);
static struct k_work_delayable gateway_host_command_work;
static struct k_work_delayable gateway_host_command_retry_work;
static uint8_t gateway_host_command_retry_round;
static uint32_t gateway_host_command_retry_started_ms;
static uint32_t gateway_host_command_ack_confirm_wait_admission_id;
static uint32_t gateway_host_command_ack_confirm_wait_deadline_ms;
/*
 * Synchronous host-command dispatch has one authoritative reservation owner.
 * Any path that survives this dispatch must copy the token into its own
 * durable/asynchronous state before this value is cleared.
 */
static bool gateway_host_command_retry_pending;
static uint32_t gateway_host_command_next_admission_id;
static struct app_gateway_command_lifecycle gateway_host_command_lifecycle;
static struct k_spinlock gateway_host_command_lifecycle_lock;
BUILD_ASSERT(GATEWAY_HOST_COMMAND_QUEUE_DEPTH <=
             APP_GATEWAY_COMMAND_LIFECYCLE_MAX_ITEMS,
             "gateway command lifecycle must cover every queue slot");
#endif
static uint32_t gateway_route_refresh_result_token;
static uint16_t anchor_collection_result_seq;
K_MUTEX_DEFINE(anchor_command_result_mutex);
struct anchor_collection_result_pending {
    struct proto_packet command;
    struct command_result_id result_id;
    uint32_t collection_epoch_id;
    uint32_t delivery_handle;
    enum command_id command_id;
    enum command_status status;
    uint8_t reason;
    bool active;
    bool force_rediscovery_after_result;
    bool reboot_after_result;
    bool result_confirmed;
    uint8_t retry_round;
};
static struct anchor_collection_result_pending anchor_collection_result_pending;
struct anchor_pending_command_options {
    enum command_response_mode response_mode;
    uint32_t command_seq;
    uint32_t collection_epoch_id;
    uint32_t collection_slot_seed;
    uint32_t command_expiry_s;
    uint32_t execute_delay_ms;
    uint16_t expected_node_count;
    bool collection_required;
};
struct anchor_pending_command_execution {
    struct proto_packet command;
    struct anchor_pending_command_options options;
    uint8_t payload[PACKET_MAX_PAYLOAD_LEN];
    uint16_t payload_len;
    uint32_t received_at_ms;
    uint32_t execute_at_ms;
    uint32_t execute_deadline_ms;
    bool side_effect_completed;
    bool terminal_without_execution;
    /* Independently arms the timestamps above; either may wrap to zero. */
    bool active;
};
static struct anchor_pending_command_execution anchor_pending_command_execution;
struct anchor_pending_click_handoff {
    struct uwb_wake_claim_frame claim;
    struct radio_guard_uwb_lease radio_lease;
    int64_t received_at_ms;
    uint8_t link_quality;
    bool active;
};
static struct anchor_pending_click_handoff anchor_pending_click_handoff;
static struct k_spinlock anchor_pending_click_handoff_lock;
static void anchor_set_uwb_busy(bool busy);
static void anchor_note_uwb_awake_since(int64_t start_ms, uint32_t already_counted_us);
static void anchor_operation_high_duty_boost_begin(uint32_t duration_ms);
static int anchor_enumeration_rx_begin(uint32_t epoch,
                                       uint32_t operation_budget_ms,
                                       bool allow_supersede);
static int anchor_enumeration_rx_prearm(uint32_t epoch,
                                        uint32_t hold_ms,
                                        uint32_t operation_budget_ms,
                                        bool survey_follows,
                                        uint32_t local_depth_block_start_ms,
                                        uint8_t observed_hop_count);
static int anchor_enumeration_rx_consume_survey_handoff(
    uint32_t assignment_epoch);
static int anchor_enumeration_rx_begin_table(
    uint32_t epoch,
    uint32_t operation_budget_ms,
    uint32_t table_command_seq,
    const struct discovery_assignment_table_commitment *table_commitment,
    bool allow_supersede);
static bool anchor_enumeration_rx_bind_claim(uint32_t epoch,
                                             uint32_t claim_session_id,
                                             uint32_t claim_command_seq);
static bool anchor_enumeration_rx_rollback_unbound_claim(
    uint32_t epoch,
    const char *reason);
static bool anchor_enumeration_rx_active(void);
static bool anchor_enumeration_rx_matches_claim(
    uint32_t epoch,
    uint32_t claim_session_id,
    uint32_t claim_command_seq);
static bool anchor_enumeration_rx_matches_table(
    uint32_t epoch,
    uint32_t table_command_seq,
    const struct discovery_assignment_table_commitment *table_commitment);
static enum protocol_rx_recovery_result anchor_enumeration_rx_note_recovery(
    bool recovered,
    const char *reason);
static bool anchor_enumeration_rx_terminate_claim(
    uint32_t epoch,
    uint32_t claim_session_id,
    uint32_t claim_command_seq,
    const char *reason);
static bool anchor_enumeration_rx_finish_table(
    uint32_t epoch,
    uint32_t table_command_seq,
    const struct discovery_assignment_table_commitment *table_commitment,
    const char *reason);
static int anchor_start_uwb_scan(void);
static void anchor_uwb_scan_work_handler(struct k_work *work);
static bool anchor_handle_mesh_click_wake_claim(
    const struct uwb_wake_claim_frame *claim,
    uint8_t link_quality,
    int64_t received_at_ms);
static bool anchor_run_mesh_click_wake_claim(
    const struct uwb_wake_claim_frame *claim,
    uint8_t link_quality,
    int64_t received_at_ms,
    struct radio_guard_uwb_lease *radio_lease);
static void anchor_click_handoff_work_handler(struct k_work *work);
int anchor_uwb_scan_schedule_ms(uint32_t delay_ms);
static void anchor_reboot_work_handler(struct k_work *work);
static void anchor_collection_result_work_handler(struct k_work *work);
static void anchor_command_execute_work_handler(struct k_work *work);
static int anchor_resume_pending_discovery_assignment_ack(
    bool explicit_table_replay);
static int anchor_schedule_reboot_after_command_result(void);
static int anchor_force_rediscovery_from_command(void);
#if DEVICE_ROLE == ROLE_GATEWAY
static int gateway_discovery_assignment_reschedule(k_timeout_t delay,
                                                    const char *source);
static int gateway_discovery_assignment_wake_now(const char *source);
#endif
static void anchor_heartbeat_work_handler(struct k_work *work);
static enum gateway_command_event_kind gateway_observability_kind(
    enum command_id command_id);
static struct gateway_command_event gateway_observability_event(
    enum gateway_command_event_kind kind,
    enum gateway_command_event_stage stage,
    enum command_id command_id,
    const struct proto_packet *host_command,
    uint32_t gateway_sequence);
static void gateway_route_refresh_observe(
    const struct app_node_comm_route_refresh_event *refresh);
static bool gateway_route_refresh_prearm_snapshot(uint32_t *epoch,
                                                   uint32_t *hold_ms,
                                                   struct operation_policy_set *policy,
                                                   bool *survey_follows);
static void gateway_observe_host_terminal(
    const struct proto_packet *host_command,
    enum command_id command_id,
    enum command_status status,
    enum gateway_command_event_reason reason);
#if DEVICE_ROLE == ROLE_GATEWAY && defined(CONFIG_IMEC_GATEWAY_BLE)
static void gateway_observe_host_stage(
    const struct proto_packet *host_command,
    enum command_id command_id,
    enum gateway_command_event_stage stage);
static int gateway_observe_host_acceptance(
    const struct proto_packet *host_command,
    enum command_id command_id);
#endif


/* Implementation is split by responsibility but remains one translation unit. */
#include "app_anchor_commands.inc"
#include "app_anchor_gateway_control.inc"
#include "app_anchor_radio.inc"
#include "app_anchor_init.inc"
```
